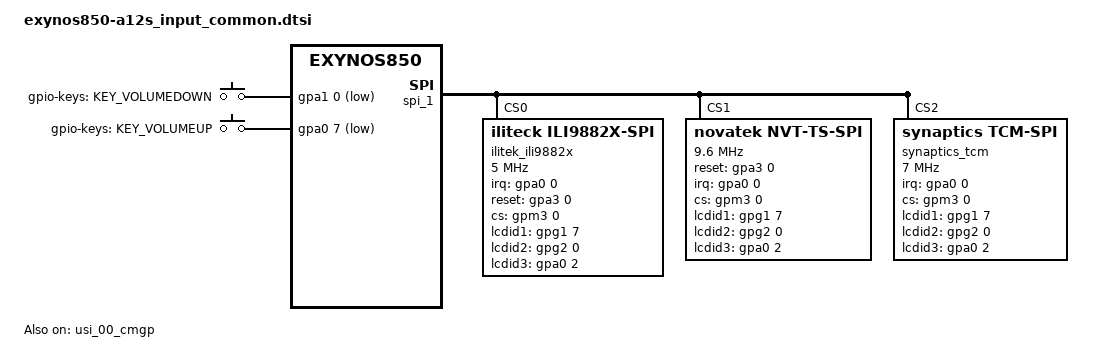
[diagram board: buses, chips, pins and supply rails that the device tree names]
/*
 * SAMSUNG EXYNOS850 board common device tree source
 *
 * Copyright (c) 2019 Samsung Electronics Co., Ltd.
 *		http://www.samsung.com
 *
 * This program is free software; you can redistribute it and/or modify
 * it under the terms of the GNU General Public License version 2 as
 * published by the Free Software Foundation.
 */

/ {
	fragment@common {
		target-path = "/";
		__overlay__ {
			#address-cells = <2>;
			#size-cells = <1>;

			gpio_keys {
				status = "okay";
				compatible = "gpio-keys";
				pinctrl-names = "default";
				pinctrl-0 = <&key_voldown &key_volup>;

				button@1 {
					label = "gpio-keys: KEY_VOLUMEDOWN";
					linux,code = <114>;
					gpios = <&gpa1 0 0xf>;
				};
				button@2 {
					label = "gpio-keys: KEY_VOLUMEUP";
					linux,code = <115>;
					gpios = <&gpa0 7 0xf>;
				};
			};
		}; /* end of __overlay__ */
	}; /* end of fragment */
}; /* end of root */

&pinctrl_0 {
	key_voldown: key-voldown {
		samsung,pins = "gpa1-0";
		samsung,pin-function = <0xf>;
		samsung,pin-pud = <0>;
		samsung,pin-drv = <0>;
	};

	key_volup: key-volup {
		samsung,pins = "gpa0-7";
		samsung,pin-function = <0xf>;
		samsung,pin-pud = <0>;
		samsung,pin-drv = <0>;
	};
};

&usi_00_cmgp {
		usi_v2_mode = "spi";
		status = "okay";
};

&pinctrl_0 {
	intr_on: intr-on {
		samsung,pins = "gpa0-0";
		samsung,pin-function = <0xf>;
		samsung,pin-pud = <0>;
		samsung,pin-drv = <0>;
	};

	intr_off: intr-off {
		samsung,pins = "gpa0-0";
		samsung,pin-function = <0>;
		samsung,pin-pud = <1>;
	};

	tsp_rst_on: tsp-rst-on {
		samsung,pins = "gpa3-0";
		samsung,pin-function = <1>;
		samsung,pin-val	= <1>;
		samsung,pin-pud = <0>;
	};

	tsp_rst_off: tsp-rst-off {
		samsung,pins = "gpa3-0";
		samsung,pin-function = <0>;
		samsung,pin-pud = <1>;
	};

};
&pinctrl_5 {
	tsp_id_on: tsp-id-on {
		samsung,pins = "gpg1-7", "gpg2-0";
		samsung,pin-function = <0>;
		samsung,pin-pud = <0>;
	};
	tsp_id_off: tsp-id-off {
		samsung,pins = "gpg1-7", "gpg2-0";
		samsung,pin-function = <0>;
		samsung,pin-pud = <1>;
	};
};

&pinctrl_0 {
	tsp_id3_on: tsp-id3-on {
		samsung,pins = "gpa0-2";
		samsung,pin-function = <0>;
		samsung,pin-pud = <0>;
	};
	tsp_id3_off: tsp-id3-off {
		samsung,pins = "gpa0-2";
		samsung,pin-function = <0>;
		samsung,pin-pud = <1>;
	};
};

&spi_1 {
	#address-cells = <1>;
	#size-cells = <0>;
	status = "ok";
	pinctrl-names = "on_state", "off_state";
	pinctrl-0 = <&spi1_bus &spi1_cs>;
	pinctrl-1 = <&spi1_sleep>;
	num-cs = <3>;

	ilitek_ili9882x@0 {
		status = "okay";
		compatible = "iliteck,ili9882x-spi";
		reg = <0>;
		spi-max-frequency = <5000000>;
		pinctrl-names = "default", "pins_on_state", "pins_off_state";
		pinctrl-0 = <&tsp_id_on &tsp_id3_on &intr_on &spi1_bus &spi1_cs &tsp_rst_on>;
		pinctrl-1 = <&tsp_id_on &tsp_id3_on &intr_on &spi1_bus &spi1_cs &tsp_rst_on>;
		pinctrl-2 = <&tsp_id_off &tsp_id3_off &intr_off &spi1_sleep &tsp_rst_off>;
		iliteck,irq-gpio = <&gpa0 0 0x2008>; /* IRQF_ONESHOT | IRQF_TRIGGER_LOW */
		iliteck,reset-gpio = <&gpa3 0 0x0>;
		iliteck,cs-gpio = <&gpm3 0 0>;
		iliteck,lcdid1-gpio = <&gpg1 7 0x0>;
		iliteck,lcdid2-gpio = <&gpg2 0 0x0>;
		iliteck,lcdid3-gpio = <&gpa0 2 0x0>;
		iliteck,lcd_rst = "gpio_lcd_rst";
		iliteck,lcd_bl_en = "gpio_lcd_bl_en";
		iliteck,lcd_vddi = "vdd_ldo28";
		iliteck,irq-on-state = <0>;
		iliteck,spi-mode = <0>;
		iliteck,byte-delay-us = <0>;
		iliteck,block-delay-us = <0>;
		iliteck,ubl-max-freq = <5000000>;
		iliteck,ubl-byte-delay-us = <20>;
		iliteck,area-size = <48 81 30>;
		iliteck,enable_settings_aot;
		iliteck,enable_sysinput_enabled;
		iliteck,support_ear_detect_mode;
		iliteck,prox_lp_scan_enabled;
		iliteck,lcd_rst_delay = <2>;
		iliteck,lcdid = <3 7>;	// LTPS BOE
		iliteck,lcdtype = <0 0 0 0xba7254 0 0 0 0x3a6250>;
		iliteck,fw_name = "", "", "", "tsp_ilitek/ili7807s_a12s.hex", "", "", "", "tsp_ilitek/ili9882_a12s.hex";
		controller-data {
//			cs-gpio = <&gpm3 0 0>;
			samsung,spi-feedback-delay = <0>;
		};
	};

	/* Novatek device tree node */
	novatek@1 {
		status = "okay";
		compatible = "novatek,NVT-ts-spi";
		reg = <1>; //Same as CS ID
		spi-max-frequency = <9600000>;
		novatek,reset-gpio = <&gpa3 0 0x00>;
		novatek,irq-gpio = <&gpa0 0 0x2002>;
		novatek,cs-gpio = <&gpm3 0 0>;
		pinctrl-names = "default", "on_state", "off_state";
		pinctrl-0 = <&tsp_id_on &tsp_id3_on &intr_on &spi1_bus &spi1_cs &tsp_rst_on>;
		pinctrl-1 = <&tsp_id_on &tsp_id3_on &intr_on &spi1_bus &spi1_cs &tsp_rst_on>;
		pinctrl-2 = <&tsp_id_off &tsp_id3_off &intr_off &spi1_sleep &tsp_rst_off>;
		novatek,lcdid1-gpio = <&gpg1 7 0x0>;
		novatek,lcdid2-gpio = <&gpg2 0 0x0>;
		novatek,lcdid3-gpio = <&gpa0 2 0x0>;
		novatek,resolution = <720 1600>;
		novatek,enable_settings_aot;
		novatek,support_ear_detect_mode;
		novatek,prox_lp_scan_enabled;
		novatek,enable_sysinput_enabled;
		novatek,lcdid = <1 2 6>;	// CSOT DTC SHARP
		novatek,lcdtype = <0 0x0aa240 0x0a1240 0 0 0 0x0af240>;
		novatek,fw_name = "", "tsp_novatek/nt36525_a12s_csot.bin", "tsp_novatek/nt36525_a12s_dtc.bin", "", "", "", "tsp_novatek/nt36525_a12s_sharp.bin";
		novatek,fw_name_mp = "", "tsp_novatek/nt36525_a12s_mp_csot.bin", "tsp_novatek/nt36525_a12s_mp_dtc.bin", "", "", "", "tsp_novatek/nt36525_a12s_mp_sharp.bin";
		novatek,regulator_lcd_vdd = "vdd_ldo28";
		novatek,regulator_lcd_reset = "gpio_lcd_rst";
		novatek,regulator_lcd_bl = "gpio_lcd_bl_en";

		/* 525 */
		//novatek,swrst-n8-addr = <0x01F01A>;

		/* 672A, 525B, 675, 526, 672C */
		novatek,swrst-n8-addr = <0x03F0FE>;
		novatek,spi-rd-fast-addr = <0x03F310>;

		/* MP */
		novatek,mp-support-dt;

		/* nt36525_a12s_csot */
		novatek-mp-criteria-722E@0 {
			#address-cells = <1>;
			#size-cells = <0>;
			compatible = "novatek-mp-criteria-722E";

			/* sec cmd test config */
			open_test_spec = <(-511) 5120>;
			short_test_spec = <10000 14008>;
			diff_test_frame = <50>;
			fdm_x_num = <2>;
		};

		/* nt36525_a12s_dtc */
		novatek-mp-criteria-7232@0 {
			#address-cells = <1>;
			#size-cells = <0>;
			compatible = "novatek-mp-criteria-7232";

			/* sec cmd test config */
			open_test_spec = <(-511) 5120>;
			short_test_spec = <10000 14008>;
			diff_test_frame = <50>;
			fdm_x_num = <2>;
		};

		/* nt36525_a12s_sharp */
		novatek-mp-criteria-7231@0 {
			#address-cells = <1>;
			#size-cells = <0>;
			compatible = "novatek-mp-criteria-7231";

			/* sec cmd test config */
			open_test_spec = <(-511) 5120>;
			short_test_spec = <10000 14008>;
			diff_test_frame = <50>;
			fdm_x_num = <2>;
		};

		controller-data {
//			cs-gpio = <&gpm3 0 0>;
			samsung,spi-feedback-delay = <0>;
		};
	};

	synaptics_tcm@2 {
		status = "okay";
		compatible = "synaptics,tcm-spi";
		reg = <2>;
		spi-max-frequency = <7000000>;
		pinctrl-names = "default", "on_state", "off_state";
		pinctrl-0 = <&tsp_id_on &tsp_id3_on &intr_on &spi1_bus &spi1_cs &tsp_rst_on>;
		pinctrl-1 = <&tsp_id_on &tsp_id3_on &intr_on &spi1_bus &spi1_cs &tsp_rst_on>;
		pinctrl-2 = <&tsp_id_off &tsp_id3_off &intr_off &spi1_sleep &tsp_rst_off>;
		synaptics,irq-gpio = <&gpa0 0 0x2008>; /* IRQF_ONESHOT | IRQF_TRIGGER_LOW */
		synaptics,irq-on-state = <0>;
		synaptics,cs-gpio = <&gpm3 0 0>;
		synaptics,spi-mode = <3>;
		synaptics,byte-delay-us = <0>;
		synaptics,block-delay-us = <0>;
		synaptics,ubl-max-freq = <7000000>;
		synaptics,ubl-byte-delay-us = <20>;
		synaptics,area-size = <48 81 30>;
		synaptics,regulator_lcd_vdd = "vdd_ldo28";
		synaptics,regulator_lcd_bl = "gpio_lcd_bl_en";
		synaptics,regulator_lcd_reset = "gpio_lcd_rst";
		synaptics,lcdid1-gpio = <&gpg1 7 0x0>;
		synaptics,lcdid2-gpio = <&gpg2 0 0x0>;
		synaptics,lcdid3-gpio = <&gpa0 2 0x0>;
		synaptics,enable_settings_aot;
		synaptics,support_ear_detect_mode;
		synaptics,prox_lp_scan_enabled;
		synaptics,lcdid = <0 4 5>;	// BOE-TD4375, BOE-TD4150, BOE-TD4160
		synaptics,lcdtype = <0x7A6220 0 0 0 0x3A6220 0xBA6220>;
		synaptics,fw_name = "tsp_synaptics/td4375_a12s_boe.bin", "", "", "", "tsp_synaptics/td4150_a12s_boe.bin", "tsp_synaptics/td4160_a12s_boe.bin";

		controller-data {
//			cs-gpio = <&gpm3 0 0>;
			samsung,spi-feedback-delay = <0>;
		};
	};

	
};
